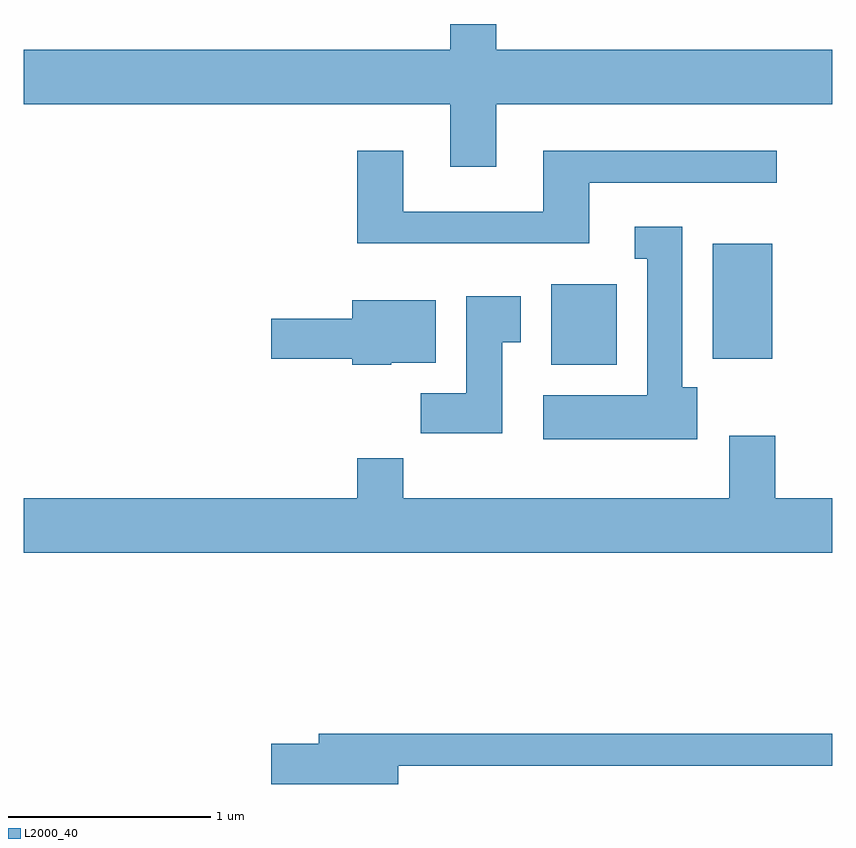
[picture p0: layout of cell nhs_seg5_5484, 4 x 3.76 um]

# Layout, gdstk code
import gdstk
lib = gdstk.Library(unit=1e-6, precision=1e-09)
def R(c, l, rs):  # rectangles x0, y0, x1, y1
    for r in rs: c.add(gdstk.rectangle(r[:2], r[2:], *l))
def P(c, l, *ps):  # polygons
    for p in ps: c.add(gdstk.Polygon(p, *l))
L2000_40 = (2000, 40)

nhs_seg5_5484 = lib.new_cell('nhs_seg5_5484')
R(nhs_seg5_5484, L2000_40, [(350.221,1464.386,350.544,1464.784), (351.021,1464.416,351.314,1464.984)])
P(nhs_seg5_5484, L2000_40, [(349.949,1465.676),(351.611,1465.676),(351.611,1465.944),(349.949,1465.944),(349.949,1466.072),(349.721,1466.072),(349.721,1465.944),(347.611,1465.944),(347.611,1465.676),(349.721,1465.676),(349.721,1465.366),(349.949,1465.366)],
  [(350.409,1465.286),(351.338,1465.286),(351.338,1465.444),(350.181,1465.444),(350.181,1465.144),(349.489,1465.144),(349.489,1465.444),(349.261,1465.444),(349.261,1464.986),(350.409,1464.986)],
  [(350.944,1464.274),(350.869,1464.274),(350.869,1465.069),(350.633,1465.069),(350.633,1464.911),(350.696,1464.911),(350.696,1464.234),(350.181,1464.234),(350.181,1464.016),(350.944,1464.016)],
  [(349.979,1464.496),(350.069,1464.496),(350.069,1464.724),(349.801,1464.724),(349.801,1464.244),(349.576,1464.244),(349.576,1464.046),(349.979,1464.046)],
  [(349.43,1464.396),(349.649,1464.396),(349.649,1464.704),(349.236,1464.704),(349.236,1464.614),(348.836,1464.614),(348.836,1464.416),(349.236,1464.416),(349.236,1464.386),(349.43,1464.386)],
  [(351.611,1463.724),(351.329,1463.724),(351.329,1464.034),(351.101,1464.034),(351.101,1463.724),(349.489,1463.724),(349.489,1463.924),(349.261,1463.924),(349.261,1463.724),(347.611,1463.724),(347.611,1463.456),(351.611,1463.456)],
  [(349.464,1462.401),(351.611,1462.401),(351.611,1462.559),(349.071,1462.559),(349.071,1462.509),(348.836,1462.509),(348.836,1462.311),(349.464,1462.311)])

lib.write_gds('nhs_seg5_5484.gds')
